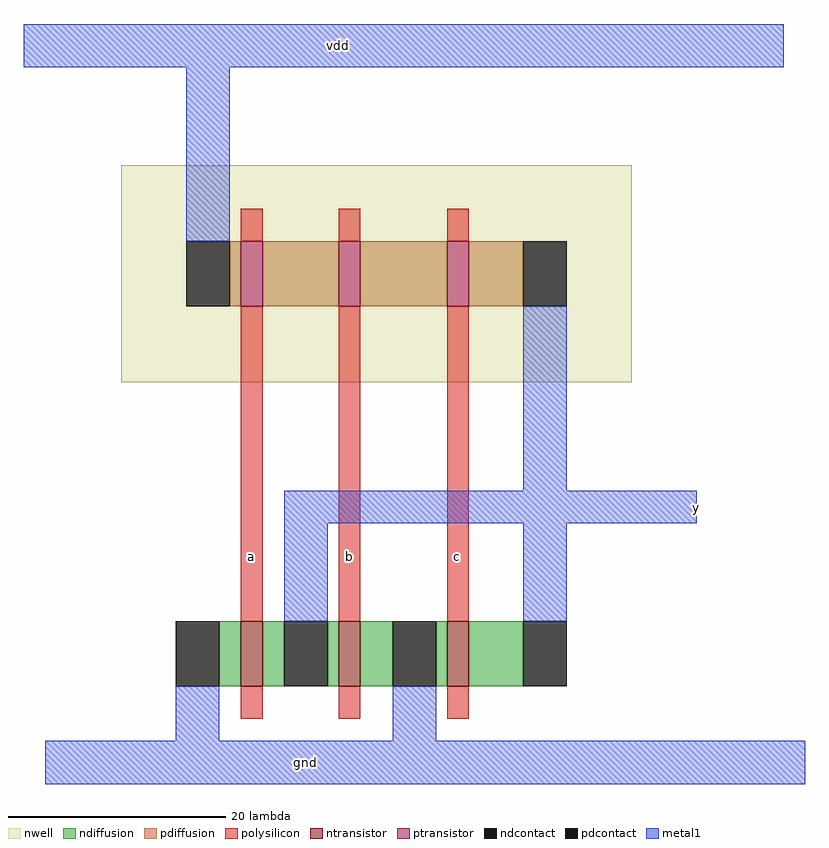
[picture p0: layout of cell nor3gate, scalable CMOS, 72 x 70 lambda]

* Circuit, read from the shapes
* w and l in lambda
.subckt nor3gate a b c gnd vdd y
M1 y a gnd VSUBS nfet w=6 l=2
M2 gnd b y VSUBS nfet w=6 l=2
M3 y c gnd VSUBS nfet w=6 l=2
M4 n1 a vdd n2 pfet w=6 l=2
M5 n3 b n1 n2 pfet w=6 l=2
M6 y c n3 n2 pfet w=6 l=2
.ends

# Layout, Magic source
magic
tech scmos
<< nwell >>
rect -12 6 35 26
<< ntransistor >>
rect -1 -22 1 -16
rect 8 -22 10 -16
rect 18 -22 20 -16
<< ptransistor >>
rect -1 13 1 19
rect 8 13 10 19
rect 18 13 20 19
<< ndiffusion >>
rect -3 -22 -1 -16
rect 1 -22 3 -16
rect 7 -22 8 -16
rect 10 -22 13 -16
rect 17 -22 18 -16
rect 20 -22 25 -16
<< pdiffusion >>
rect -2 13 -1 19
rect 1 13 8 19
rect 10 13 18 19
rect 20 13 25 19
<< ndcontact >>
rect -7 -22 -3 -16
rect 3 -22 7 -16
rect 13 -22 17 -16
rect 25 -22 29 -16
<< pdcontact >>
rect -6 13 -2 19
rect 25 13 29 19
<< polysilicon >>
rect -1 19 1 22
rect 8 19 10 22
rect 18 19 20 22
rect -1 -16 1 13
rect 8 -16 10 13
rect 18 -16 20 13
rect -1 -25 1 -22
rect 8 -25 10 -22
rect 18 -25 20 -22
<< metal1 >>
rect -21 35 49 39
rect -6 19 -2 35
rect 25 -4 29 13
rect 3 -7 41 -4
rect 3 -16 7 -7
rect 25 -16 29 -7
rect -7 -27 -3 -22
rect 13 -27 17 -22
rect -19 -31 51 -27
<< labels >>
rlabel polysilicon 0 -10 0 -10 1 a
rlabel polysilicon 9 -10 9 -10 1 b
rlabel metal1 8 37 8 37 5 vdd
rlabel metal1 5 -29 5 -29 1 gnd
rlabel polysilicon 19 -10 19 -10 1 c
rlabel metal1 41 -7 41 -4 1 y
<< end >>
